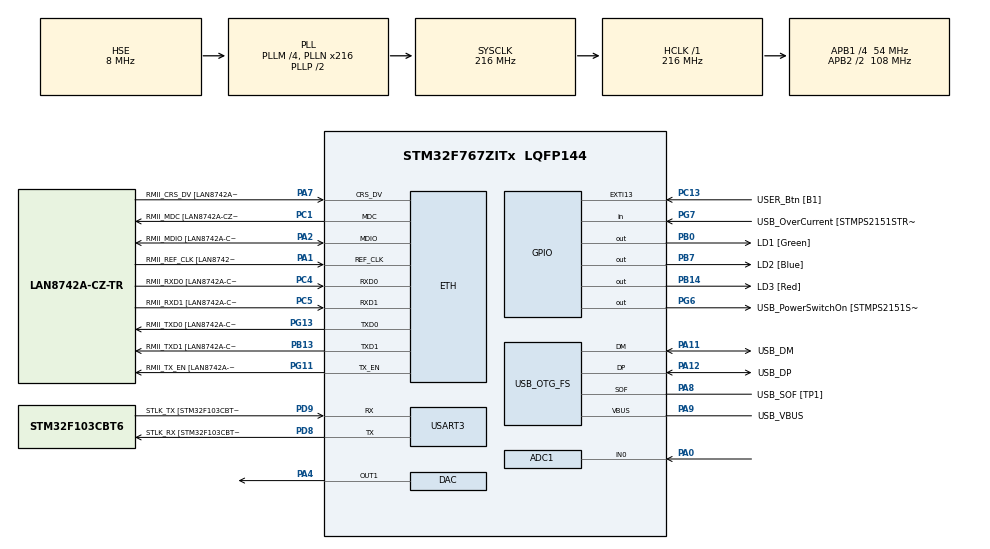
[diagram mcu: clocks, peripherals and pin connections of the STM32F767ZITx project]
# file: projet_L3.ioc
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ADC1.Channel-2\#ChannelRegularConversion=ADC_CHANNEL_0
ADC1.ContinuousConvMode=DISABLE
ADC1.DMAContinuousRequests=ENABLE
ADC1.EOCSelection=ADC_EOC_SEQ_CONV
ADC1.ExternalTrigConv=ADC_EXTERNALTRIGCONV_T2_TRGO
ADC1.NbrOfConversion=1
ADC1.NbrOfConversionFlag=1
ADC1.Rank-2\#ChannelRegularConversion=1
ADC1.SamplingTime-2\#ChannelRegularConversion=ADC_SAMPLETIME_84CYCLES
ADC1.master=1
CORTEX_M7.CPU_ICache=Enabled
DAC.DAC_Trigger=DAC_TRIGGER_T4_TRGO
Dma.ADC1.0.Direction=DMA_PERIPH_TO_MEMORY
Dma.ADC1.0.FIFOMode=DMA_FIFOMODE_DISABLE
Dma.ADC1.0.Instance=DMA2_Stream0
Dma.ADC1.0.MemDataAlignment=DMA_MDATAALIGN_HALFWORD
Dma.ADC1.0.MemInc=DMA_MINC_ENABLE
Dma.ADC1.0.Mode=DMA_CIRCULAR
Dma.ADC1.0.PeriphDataAlignment=DMA_PDATAALIGN_HALFWORD
Dma.ADC1.0.PeriphInc=DMA_PINC_DISABLE
Dma.ADC1.0.Priority=DMA_PRIORITY_VERY_HIGH
Dma.Request0=ADC1
ETH.MediaInterface=HAL_ETH_RMII_MODE
ETH.PHY_Name=LAN8742A_PHY_ADDRESS
ETH.PHY_Value=0
ETH.PhyAddress=0
Mcu.Family=STM32F7
Mcu.Name=STM32F767ZITx
Mcu.Package=LQFP144
NVIC.DMA2_Stream0_IRQn=true\:0\:0\:false\:false\:true\:false\:true\:true
NVIC.PriorityGroup=NVIC_PRIORITYGROUP_4
NVIC.TIM4_IRQn=true\:0\:0\:false\:false\:true\:true\:true\:true
PA0/WKUP.Signal=ADCx_IN0
PA1.GPIO_Label=RMII_REF_CLK [LAN8742A-CZ-TR_REFCLK0]
PA1.Mode=RMII
PA1.Signal=ETH_REF_CLK
PA10.GPIO_Label=USB_ID
PA10.Signal=USB_OTG_FS_ID
PA11.GPIO_Label=USB_DM
PA11.Mode=Device_Only
PA11.Signal=USB_OTG_FS_DM
PA12.GPIO_Label=USB_DP
PA12.Mode=Device_Only
PA12.Signal=USB_OTG_FS_DP
PA13.GPIO_Label=TMS
PA13.Mode=Serial_Wire
PA13.Signal=SYS_JTMS-SWDIO
PA14.GPIO_Label=TCK
PA14.Mode=Serial_Wire
PA14.Signal=SYS_JTCK-SWCLK
PA2.GPIO_Label=RMII_MDIO [LAN8742A-CZ-TR_MDIO]
PA2.Mode=RMII
PA2.Signal=ETH_MDIO
PA4.Signal=COMP_DAC1_group
PA7.GPIO_Label=RMII_CRS_DV [LAN8742A-CZ-TR_CRS_DV]
PA7.Mode=RMII
PA7.Signal=ETH_CRS_DV
PA8.GPIO_Label=USB_SOF [TP1]
PA8.Mode=Activate_SOF_FS
PA8.Signal=USB_OTG_FS_SOF
PA9.GPIO_Label=USB_VBUS
PA9.Mode=Activate_VBUS
PA9.Signal=USB_OTG_FS_VBUS
PB0.GPIO_Label=LD1 [Green]
PB0.Signal=GPIO_Output
PB13.GPIO_Label=RMII_TXD1 [LAN8742A-CZ-TR_TXD1]
PB13.Mode=RMII
PB13.Signal=ETH_TXD1
PB14.GPIO_Label=LD3 [Red]
PB14.Signal=GPIO_Output
PB3.GPIO_Label=SWO
PB3.Signal=SYS_JTDO-SWO
PB7.GPIO_Label=LD2 [Blue]
PB7.Signal=GPIO_Output
PC1.GPIO_Label=RMII_MDC [LAN8742A-CZ-TR_MDC]
PC1.Mode=RMII
PC1.Signal=ETH_MDC
PC13.GPIO_Label=USER_Btn [B1]
PC13.Signal=GPXTI13
PC14/OSC32_IN.Mode=LSE-External-Oscillator
PC14/OSC32_IN.Signal=RCC_OSC32_IN
PC15/OSC32_OUT.Mode=LSE-External-Oscillator
PC15/OSC32_OUT.Signal=RCC_OSC32_OUT
PC4.GPIO_Label=RMII_RXD0 [LAN8742A-CZ-TR_RXD0]
PC4.Mode=RMII
PC4.Signal=ETH_RXD0
PC5.GPIO_Label=RMII_RXD1 [LAN8742A-CZ-TR_RXD1]
PC5.Mode=RMII
PC5.Signal=ETH_RXD1
PD8.GPIO_Label=STLK_RX [STM32F103CBT6_PA3]
PD8.Mode=Asynchronous
PD8.Signal=USART3_TX
PD9.GPIO_Label=STLK_TX [STM32F103CBT6_PA2]
PD9.Mode=Asynchronous
PD9.Signal=USART3_RX
PG11.GPIO_Label=RMII_TX_EN [LAN8742A-CZ-TR_TXEN]
PG11.Mode=RMII
PG11.Signal=ETH_TX_EN
PG13.GPIO_Label=RMII_TXD0 [LAN8742A-CZ-TR_TXD0]
PG13.Mode=RMII
PG13.Signal=ETH_TXD0
PG6.GPIO_Label=USB_PowerSwitchOn [STMPS2151STR_EN]
PG6.Signal=GPIO_Output
PG7.GPIO_Label=USB_OverCurrent [STMPS2151STR_FAULT]
PG7.Signal=GPIO_Input
PH0/OSC_IN.GPIO_Label=MCO [STM32F103CBT6_PA8]
PH0/OSC_IN.Mode=HSE-External-Clock-Source
PH0/OSC_IN.Signal=RCC_OSC_IN
PH1/OSC_OUT.Mode=HSE-External-Clock-Source
PH1/OSC_OUT.Signal=RCC_OSC_OUT
ProjectManager.HeapSize=0x200
ProjectManager.StackSize=0x400
ProjectManager.TargetToolchain=STM32CubeIDE
RCC.48MHZClocksFreq_Value=24000000
RCC.AHBFreq_Value=216000000
RCC.APB1CLKDivider=RCC_HCLK_DIV4
RCC.APB1Freq_Value=54000000
RCC.APB1TimFreq_Value=108000000
RCC.APB2CLKDivider=RCC_HCLK_DIV2
RCC.APB2Freq_Value=108000000
RCC.APB2TimFreq_Value=216000000
RCC.CortexFreq_Value=216000000
RCC.HCLKFreq_Value=216000000
RCC.HSE_VALUE=8000000
RCC.HSI_VALUE=16000000
RCC.PLLM=4
RCC.PLLMUL=RCC_PLL_MUL9
RCC.PLLN=216
RCC.PLLQ=9
RCC.PRESCALERUSB=RCC_USBCLKSOURCE_PLL_DIV1_5
RCC.SYSCLKFreq_VALUE=216000000
RCC.SYSCLKSource=RCC_SYSCLKSOURCE_PLLCLK
RCC.SYSCLKSourceVirtual=RCC_SYSCLKSOURCE_PLLCLK
RCC.USBFreq_Value=48000000
RCC.VCOOutputFreq_Value=432000000
SH.ADCx_IN0.0=ADC1_IN0,IN0
SH.COMP_DAC1_group.0=DAC_OUT1,DAC_OUT1
STMicroelectronics.FP-SNS-STAIOTCFT.1.0.0.MathOoLibCcCMSISJjDSPJjInclude=true
STMicroelectronics.FP-SNS-STAIOTCFT.1.0.0.MathOoLibCcCMSISJjDSPJjLib=true
TIM2.AutoReloadPreload=TIM_AUTORELOAD_PRELOAD_ENABLE
TIM2.Period=2159
TIM2.TIM_MasterOutputTrigger=TIM_TRGO_UPDATE
TIM4.AutoReloadPreload=TIM_AUTORELOAD_PRELOAD_ENABLE
TIM4.TIM_MasterOutputTrigger=TIM_TRGO_UPDATE
USART3.VirtualMode-Asynchronous=VM_ASYNC
USB_OTG_FS.VirtualMode=Device_Only
VP_STMicroelectronics.FP-SNS-STAIOTCFT_VS_CMSISJjMathOoLib_1.0.0_1.0.0.Mode=CMSISJjMathOoLib
VP_TIM2_VS_ClockSourceINT.Mode=Internal
VP_TIM4_VS_ClockSourceINT.Mode=Internal
board=NUCLEO-F767ZI

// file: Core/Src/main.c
/* USER CODE BEGIN Header */
/**
  ******************************************************************************
  * @file           : main.c
  * @brief          : Programme principal - Radar Doppler 24.125 GHz
  *                   Version 2 : FS=100kHz, FFT=4096, UDP streaming Ethernet
  ******************************************************************************
  * @attention
  *
  * Copyright (c) 2026 STMicroelectronics.
  * All rights reserved.
  *
  * This software is licensed under terms that can be found in the LICENSE file
  * in the root directory of this software component.
  * If no LICENSE file comes with this software, it is provided AS-IS.
  *
  ******************************************************************************
  */
/* USER CODE END Header */

#include "main.h"
#include "string.h"
#include <math.h>
#include <stdio.h>

/* CMSIS-DSP : bibliothèque de traitement du signal optimisée pour Cortex-M7.
 * Fournit des fonctions FFT, filtrage, statistiques, etc. qui exploitent
 * les instructions DSP matérielles du Cortex-M7 (FPU, SIMD). */
#include "arm_math.h"

/* Pilote de l'écran OLED SSD1306 128x64 connecté en I2C. */
#include "ssd1306.h"

/* USER CODE BEGIN PD */

/* === Taille du buffer DMA pour l'ADC ===
 * Double-buffer circulaire de 2048 échantillons à 100 kHz.
 * Interruption "half-complete" après 1024, "complete" après 2048.
 * Pendant que le DMA remplit une moitié, le CPU traite l'autre. */
#define ADC_BUF_SIZE      2048

/* === Taille de la FFT embarquée (STM32) ===
 * 4096 points à 100 kHz → résolution fréquentielle :
 *   Δf = FS / FFT_SIZE = 100000 / 4096 ≈ 24.4 Hz par bin
 * Résolution en vitesse : Δv = Δf / 161 ≈ 0.15 m/s ≈ 0.54 km/h
 * Fréquence max observable (Nyquist) = FS/2 = 50 kHz → vmax ≈ 310 m/s
 * Mais le filtre passe-bas AFE coupe à 6 kHz → vmax utile ≈ 37 m/s */
#define FFT_SIZE          4096

/* Fréquence d'échantillonnage ADC en Hz.
 * Timer 2 cadence à 100 kHz :
 *   fAPB1_timer = 108 MHz, prescaler = 0, ARR = 1079
 *   → ftimer = 108 MHz / (1079+1) = 100 000 Hz */
#define FS                100000.0f

/* Facteur de conversion Doppler : fd = 2·v·f0/c
 * f0 = 24.125 GHz → facteur = 2 × 24.125e9 / 3e8 ≈ 161 Hz/(m/s) */
#define DOPPLER_SCALE     161.0f

/* === Plage de recherche du pic FFT ===
 * MIN_BIN = 2 : évite la fuite DC (bins 0-1)
 * MAX_BIN = 250 : bin 250 × 24.4 Hz ≈ 6100 Hz → vitesse max ≈ 38 m/s ≈ 137 km/h
 * Cohérent avec le filtre passe-bas analogique à 6 kHz */
#define MIN_BIN           2
#define MAX_BIN           250

/* === Seuils de détection ===
 * SNR_THRESHOLD : 15 dB minimum (pic ~31× au-dessus du bruit moyen)
 * ADC_PP_THRESHOLD : amplitude crête-à-crête minimum ~80 mV */
#define SNR_THRESHOLD     15.0f
#define ADC_PP_THRESHOLD  100

/* === Configuration UDP pour le streaming Ethernet ===
 * On envoie les échantillons ADC bruts par hop DMA de 1024 points
 * (1024 × uint16 = 2048 octets) via UDP. À ~97.6 hops/s :
 * 100000 / 1024 = 97.656 Hz → ~195 ko/s.
 * Ethernet 100 Mbps = 12.5 Mo/s → charge réseau ≈ 1.6% (trivial).
 *
 * Adresses IP statiques (pas de DHCP pour la simplicité) :
 *   STM32 : 192.168.1.10
 *   PC    : 192.168.1.100
 * Port UDP : 5555 */
#define UDP_DST_PORT      5555
#define UDP_SRC_PORT      5555

/* Adresse IP du STM32 : 192.168.1.10 */
#define IP_SRC_0  192
#define IP_SRC_1  168
#define IP_SRC_2  1
#define IP_SRC_3  10

/* Adresse IP du PC destinataire : 192.168.1.100 */
#define IP_DST_0  192
#define IP_DST_1  168
#define IP_DST_2  1
#define IP_DST_3  100

/* Adresse MAC du STM32 (identique à celle configurée dans MX_ETH_Init) */
#define MAC_SRC_0  0x00
#define MAC_SRC_1  0x80
#define MAC_SRC_2  0xE1
#define MAC_SRC_3  0x00
#define MAC_SRC_4  0x00
#define MAC_SRC_5  0x00

/* Adresse MAC de broadcast (le PC recevra tout paquet sur le port 5555).
 * On utilise broadcast pour éviter d'avoir à connaître la MAC du PC.
 * Le routeur/switch délivrera le paquet à tous les périphériques du LAN. */
#define MAC_DST_0  0xFF
#define MAC_DST_1  0xFF
#define MAC_DST_2  0xFF
#define MAC_DST_3  0xFF
#define MAC_DST_4  0xFF
#define MAC_DST_5  0xFF

/* Taille max d'un paquet UDP (payload) dans un frame Ethernet standard.
 * MTU = 1500 octets - 20 (IP) - 8 (UDP) = 1472 octets de données utiles.
 * En mode hop, on fragmente 2048 octets ADC en 2 paquets max. */
#define UDP_MAX_PAYLOAD   1400

/* Taille d'un hop UDP : 1024 échantillons (demi-buffer DMA ADC) */
#define UDP_HOP_SAMPLES     (ADC_BUF_SIZE / 2)

/* Nombre d'échantillons ADC envoyés par trame UDP */
#define UDP_STREAM_SAMPLES  UDP_HOP_SAMPLES  /* 1024 échantillons = 2048 octets */

/* Nombre de paquets UDP nécessaires pour envoyer une trame UDP (hop).
 * 2048 / 1400 = 1.46 → 2 paquets (le dernier est plus court). */
#define UDP_FRAGMENT_COUNT  ((UDP_STREAM_SAMPLES * 2 + UDP_MAX_PAYLOAD - 1) / UDP_MAX_PAYLOAD)

/* USER CODE END PD */

/* === Descripteurs DMA Ethernet ===
 * Placés à des adresses fixes en SRAM2 (0x2007C000). */
#if defined ( __ICCARM__ ) /*!< IAR Compiler */
#pragma location=0x2007c000
ETH_DMADescTypeDef  DMARxDscrTab[ETH_RX_DESC_CNT]; /* Ethernet Rx DMA Descriptors */
#pragma location=0x2007c0a0
ETH_DMADescTypeDef  DMATxDscrTab[ETH_TX_DESC_CNT]; /* Ethernet Tx DMA Descriptors */

#elif defined ( __CC_ARM )  /* MDK ARM Compiler */

__attribute__((at(0x2007c000))) ETH_DMADescTypeDef  DMARxDscrTab[ETH_RX_DESC_CNT]; /* Ethernet Rx DMA Descriptors */
__attribute__((at(0x2007c0a0))) ETH_DMADescTypeDef  DMATxDscrTab[ETH_TX_DESC_CNT]; /* Ethernet Tx DMA Descriptors */

#elif defined ( __GNUC__ ) /* GNU Compiler */

ETH_DMADescTypeDef DMARxDscrTab[ETH_RX_DESC_CNT] __attribute__((section(".RxDecripSection"))); /* Ethernet Rx DMA Descriptors */
ETH_DMADescTypeDef DMATxDscrTab[ETH_TX_DESC_CNT] __attribute__((section(".TxDecripSection")));   /* Ethernet Tx DMA Descriptors */
#endif

ETH_TxPacketConfig TxConfig;

/* === Handles des périphériques HAL === */
ADC_HandleTypeDef hadc1;
DMA_HandleTypeDef hdma_adc1;

DAC_HandleTypeDef hdac;
DMA_HandleTypeDef hdma_dac1;

ETH_HandleTypeDef heth;

TIM_HandleTypeDef htim2;
TIM_HandleTypeDef htim4;

UART_HandleTypeDef huart3;

PCD_HandleTypeDef hpcd_USB_OTG_FS;

I2C_HandleTypeDef hi2c1;

/* USER CODE BEGIN PV */

/* === Variables OLED === */
uint32_t oled_last_update = 0;
#define OLED_UPDATE_MS  200  /* rafraîchir l'OLED toutes les 200 ms (5 Hz) */

/* Dernières valeurs mesurées pour l'affichage OLED */
float last_speed_kmh = 0;
float last_speed_ms = 0;
float last_freq = 0;
float last_snr = 0;
uint8_t last_detected = 0;

/* === Buffer DMA double pour l'ADC (2048 échantillons à 100 kHz) ===
 * Interruption HT après 1024, TC après 2048. */
volatile uint16_t adc_buf[ADC_BUF_SIZE];

/* Drapeaux d'interruption DMA */
volatile uint8_t  adc_half_ready = 0;
volatile uint8_t  adc_full_ready = 0;

/* === Buffers FFT embarquée (4096 points) ===
 * fft_in  : accumulation de 4096 échantillons float32 (16 ko)
 * fft_out : sortie FFT complexe (16 ko)
 * fft_mag : magnitudes (8 ko)
 * hann_window : coefficients de fenêtrage (16 ko) */
float32_t fft_in[FFT_SIZE];
float32_t fft_out[FFT_SIZE];
float32_t fft_mag[FFT_SIZE / 2];
float32_t hann_window[FFT_SIZE];

/* Instance FFT CMSIS-DSP (twiddle factors pré-calculés) */
arm_rfft_fast_instance_f32 fft_instance;

/* === Buffer UDP hop : copie brute des 1024 échantillons ADC uint16 ===
 * Il est rempli à chaque DMA HT/TC puis envoyé immédiatement via UDP.
 * Le PC reconstruit ensuite sa fenêtre glissante de 4096 échantillons. */
uint16_t udp_hop_buf[UDP_HOP_SAMPLES];

/* Pointeur d'accumulation FFT : incrémenté de 1024 à chaque DMA HT/TC.
 * Quand fft_fill >= FFT_SIZE (4096), le buffer est plein → lancer la FFT. */
uint16_t fft_fill = 0;
uint8_t  fft_ready = 0;

/* === Statistiques ADC === */
volatile uint16_t adc_min = 4095;
volatile uint16_t adc_max = 0;
volatile uint32_t adc_sum = 0;
volatile uint32_t adc_count = 0;

/* === Paramètres du sweep DAC (mode test) === */
#define DAC_BUF_SIZE  1024
#define SWEEP_F_START 30.0f
#define SWEEP_F_END   6000.0f
#define SWEEP_TIME_MS 15000

uint16_t dac_buf[DAC_BUF_SIZE];
float sweep_phase = 0.0f;
uint32_t sweep_start_tick = 0;

/* === Buffer UART pour compatibilité avec l'ancien protocole ===
 * On garde le streaming UART décimé en parallèle du streaming UDP.
 * Le UART envoie 1024 échantillons (décimation 4:1 depuis 4096).
 * Le UDP envoie un hop brut de 1024 échantillons à chaque HT/TC DMA. */
#define ADC_STREAM_SAMPLES  1024
uint16_t stream_buf[ADC_STREAM_SAMPLES];

/* === Buffer Ethernet pour construction de trames UDP brutes ===
 * On construit manuellement les trames Ethernet/IP/UDP sans lwIP.
 * En-tête total : 14 (Ethernet) + 20 (IPv4) + 8 (UDP) = 42 octets.
 *
 * Buffer aligné sur 4 octets pour le DMA Ethernet. */
__ALIGN_BEGIN static uint8_t eth_tx_buf[1514] __ALIGN_END;

/* Compteur de séquence UDP pour que le PC détecte les paquets perdus.
 * Incrémenté à chaque hop envoyé (pas à chaque fragment). */
static uint32_t udp_seq_counter = 0;

/* Flag indiquant que le lien Ethernet est UP (PHY connecté). */
static uint8_t eth_link_up = 0;

/* USER CODE END PV */

void SystemClock_Config(void);
static void MX_GPIO_Init(void);
static void MX_DMA_Init(void);
static void MX_ETH_Init(void);
static void MX_USART3_UART_Init(void);
static void MX_USB_OTG_FS_PCD_Init(void);
static void MX_ADC1_Init(void);
static void MX_DAC_Init(void);
static void MX_TIM2_Init(void);
static void MX_TIM4_Init(void);

/* USER CODE BEGIN 0 */

/* ═══════════════════════════════════════════════════════════════════════════
 * Construction manuelle de trames UDP brutes (sans lwIP)
 * ═══════════════════════════════════════════════════════════════════════════
 *
 * On fabrique les trames Ethernet/IP/UDP manuellement car ajouter lwIP
 * nécessiterait de regénérer le projet CubeMX. La pile "bare-metal"
 * est suffisante pour du streaming unidirectionnel en broadcast.
 *
 * Structure d'une trame :
 *   [14 octets Ethernet] [20 octets IPv4] [8 octets UDP] [données]
 *
 * Checksum IP : obligatoire (calculé par logiciel).
 * Checksum UDP : optionnel en IPv4, on met 0x0000 pour simplifier.
 */

/**
 * @brief  Calcul du checksum IPv4 (RFC 791).
 *
 * Le checksum IP est le complément à 1 de la somme des mots de 16 bits
 * de l'en-tête. On additionne tous les mots de 16 bits avec carry,
 * puis on inverse le résultat.
 *
 * @param  data  Pointeur vers l'en-tête IPv4 (20 octets)
 * @param  len   Longueur de l'en-tête en octets (toujours 20 ici)
 * @return       Checksum sur 16 bits en ordre réseau (big-endian)
 */
static uint16_t ip_checksum(const uint8_t *data, int len)
{
  uint32_t sum = 0;
  /* Additionner les mots de 16 bits (big-endian) */
  for (int i = 0; i < len; i += 2)
    sum += ((uint32_t)data[i] << 8) | data[i + 1];
  /* Replier les retenues de 32 bits dans les 16 bits bas */
  while (sum >> 16)
    sum = (sum & 0xFFFF) + (sum >> 16);
  /* Complément à 1 */
  return (uint16_t)(~sum);
}

/**
 * @brief  Envoie un paquet UDP brut via HAL Ethernet.
 *
 * Construit l'en-tête Ethernet (14 oct) + IPv4 (20 oct) + UDP (8 oct)
 * puis copie les données payload et transmet via HAL_ETH_Transmit().
 *
 * @param  payload      Données à envoyer
 * @param  payload_len  Taille des données en octets (max ~1472)
 */
static HAL_StatusTypeDef udp_send_raw(const uint8_t *payload, uint16_t payload_len)
{
  /* Taille totale des données IP (en-tête IP + en-tête UDP + payload) */
  uint16_t ip_total_len = 20 + 8 + payload_len;
  /* Taille totale de la trame Ethernet (sans CRC, ajouté par le matériel) */
  uint16_t eth_frame_len = 14 + ip_total_len;

  /* Limiter à la taille du buffer */
  if (eth_frame_len > sizeof(eth_tx_buf)) return HAL_ERROR;

  uint8_t *p = eth_tx_buf;

  /* ── En-tête Ethernet (14 octets) ──
   * [6 oct MAC destination] [6 oct MAC source] [2 oct EtherType] */
  *p++ = MAC_DST_0; *p++ = MAC_DST_1; *p++ = MAC_DST_2;
  *p++ = MAC_DST_3; *p++ = MAC_DST_4; *p++ = MAC_DST_5;
  *p++ = MAC_SRC_0; *p++ = MAC_SRC_1; *p++ = MAC_SRC_2;
  *p++ = MAC_SRC_3; *p++ = MAC_SRC_4; *p++ = MAC_SRC_5;
  *p++ = 0x08; *p++ = 0x00;  /* EtherType = 0x0800 = IPv4 */

  /* ── En-tête IPv4 (20 octets, pas d'options) ── */
  uint8_t *ip_hdr = p;
  *p++ = 0x45;         /* Version 4, IHL = 5 (20 octets, pas d'options) */
  *p++ = 0x00;         /* DSCP = 0, ECN = 0 */
  *p++ = (uint8_t)(ip_total_len >> 8);   /* Longueur totale (MSB) */
  *p++ = (uint8_t)(ip_total_len & 0xFF); /* Longueur totale (LSB) */
  *p++ = 0x00; *p++ = 0x00;  /* Identification = 0 */
  *p++ = 0x40; *p++ = 0x00;  /* Flags: Don't Fragment, Fragment Offset = 0 */
  *p++ = 64;                  /* TTL = 64 (standard) */
  *p++ = 17;                  /* Protocole = 17 = UDP */
  *p++ = 0x00; *p++ = 0x00;  /* Checksum (rempli après calcul) */
  *p++ = IP_SRC_0; *p++ = IP_SRC_1; *p++ = IP_SRC_2; *p++ = IP_SRC_3;
  *p++ = IP_DST_0; *p++ = IP_DST_1; *p++ = IP_DST_2; *p++ = IP_DST_3;

  /* Calcul du checksum IPv4 et insertion dans l'en-tête */
  uint16_t cksum = ip_checksum(ip_hdr, 20);
  ip_hdr[10] = (uint8_t)(cksum >> 8);
  ip_hdr[11] = (uint8_t)(cksum & 0xFF);

  /* ── En-tête UDP (8 octets) ── */
  uint16_t udp_len = 8 + payload_len;
  *p++ = (uint8_t)(UDP_SRC_PORT >> 8); *p++ = (uint8_t)(UDP_SRC_PORT & 0xFF);
  *p++ = (uint8_t)(UDP_DST_PORT >> 8); *p++ = (uint8_t)(UDP_DST_PORT & 0xFF);
  *p++ = (uint8_t)(udp_len >> 8);      *p++ = (uint8_t)(udp_len & 0xFF);
  *p++ = 0x00; *p++ = 0x00;  /* Checksum UDP = 0 (optionnel en IPv4) */

  /* ── Payload ── */
  memcpy(p, payload, payload_len);

  /* ── Transmission via HAL Ethernet ──
   * On utilise HAL_ETH_Transmit() qui configure le descripteur DMA TX
   * et lance l'envoi matériel. Le CRC Ethernet est ajouté automatiquement
   * par le MAC (configuré dans TxConfig.CRCPadCtrl). */
  ETH_BufferTypeDef tx_buffer;
  tx_buffer.buffer = eth_tx_buf;
  tx_buffer.len = eth_frame_len;
  tx_buffer.next = NULL;

  TxConfig.Length = eth_frame_len;
  TxConfig.TxBuffer = &tx_buffer;

  return HAL_ETH_Transmit(&heth, &TxConfig, 10);  /* timeout 10 ms */
}

/**
 * @brief  Envoie une trame d'échantillons ADC via UDP fragmenté.
 *
 * Les échantillons (n_samples × 2 octets) peuvent être trop gros
 * (MTU = 1500 → payload max ≈ 1472 octets). On les envoie en fragments
 * avec un en-tête de 12 octets par fragment :
 *
 *   [4 oct : séquence]  [2 oct : fragment_id]  [2 oct : fragment_count]
 *   [2 oct : offset]    [2 oct : payload_len]
 *   [N oct : données ADC uint16 little-endian]
 *
 * Le PC réassemble les fragments grâce au numéro de séquence et à l'offset.
 *
 * @param  samples      Tableau d'échantillons uint16 (hop ADC brut)
 * @param  n_samples    Nombre d'échantillons (1024 en mode hop)
 * @param  seq          Numéro de séquence de la trame
 */
static void udp_send_adc_frame(const uint16_t *raw_samples, uint16_t n_samples, uint32_t seq)
{
  /* Buffer temporaire pour un fragment : en-tête (12 oct) + données */
  static uint8_t frag_buf[12 + UDP_MAX_PAYLOAD];

  uint16_t total_bytes = n_samples * 2;
  uint16_t frag_count = (total_bytes + UDP_MAX_PAYLOAD - 1) / UDP_MAX_PAYLOAD;
  uint16_t offset = 0;

  for (uint16_t frag_id = 0; frag_id < frag_count; frag_id++)
  {
    uint16_t chunk = total_bytes - offset;
    if (chunk > UDP_MAX_PAYLOAD) chunk = UDP_MAX_PAYLOAD;

    /* En-tête de fragment (12 octets, little-endian) */
    uint8_t *h = frag_buf;
    h[0] = (uint8_t)(seq);       h[1] = (uint8_t)(seq >> 8);
    h[2] = (uint8_t)(seq >> 16); h[3] = (uint8_t)(seq >> 24);
    h[4] = (uint8_t)(frag_id);   h[5] = (uint8_t)(frag_id >> 8);
    h[6] = (uint8_t)(frag_count); h[7] = (uint8_t)(frag_count >> 8);
    h[8] = (uint8_t)(offset);    h[9] = (uint8_t)(offset >> 8);
    h[10] = (uint8_t)(chunk);    h[11] = (uint8_t)(chunk >> 8);

    /* Copie directe des uint16 bruts (pas de conversion float→uint16) */
    memcpy(frag_buf + 12, ((const uint8_t *)raw_samples) + offset, chunk);

    /* Attendre AVANT l'envoi que le DMA TX ait fini de lire eth_tx_buf
     * du fragment précédent. HAL_ETH_Transmit sur STM32F7 peut rendre
     * la main avant que le DMA ait fini physiquement.
     *
     * Calcul : 1412 octets * 8 / 100 Mbps = 113 µs + IFG ≈ 130 µs
     * On attend 200 µs pour avoir de la marge (4300 boucles à 216 MHz). */
    if (frag_id > 0)
    {
      for (volatile int d = 0; d < 4300; d++) {}
    }

    /* Envoi du fragment. On ne break PAS sur erreur : on tente
     * d'envoyer TOUS les fragments quoi qu'il arrive. Le PC ignore
     * les trames incomplètes grâce au bitmap de fragments. */
    udp_send_raw(frag_buf, 12 + chunk);

    offset += chunk;
  }
}

/**
 * @brief  Vérifie l'état du lien Ethernet (PHY LAN8742A).
 *
 * Lit le registre BSR (Basic Status Register) du PHY via MDIO
 * pour vérifier si le lien physique est établi (câble branché,
 * auto-négociation terminée).
 *
 * @return  1 si le lien est UP, 0 sinon
 */
static uint8_t eth_check_link(void)
{
  uint32_t reg_val = 0;
  /* Adresse du PHY LAN8742A sur le bus MDIO : typiquement 0 */
  /* Registre BSR (Basic Status Register) = registre 1 */
  if (HAL_ETH_ReadPHYRegister(&heth, 0, 1, &reg_val) == HAL_OK)
  {
    /* Bit 2 du BSR = "Link Status" : 1 = lien UP */
    return (reg_val & (1 << 2)) ? 1 : 0;
  }
  return 0;
}

/**
 * @brief  Initialise le lien Ethernet (démarrage du MAC + PHY).
 *
 * Appelé après MX_ETH_Init() pour activer le transceiver.
 * Configure le PHY en auto-négociation et démarre le MAC.
 */
static void eth_start_link(void)
{
  /* Démarrer le MAC Ethernet avec diagnostic UART */
  char dbg[128];

  HAL_StatusTypeDef status = HAL_ETH_Start(&heth);
  snprintf(dbg, sizeof(dbg), "[ETH] HAL_ETH_Start = %d (0=OK)\r\n", (int)status);
  HAL_UART_Transmit(&huart3, (uint8_t *)dbg, strlen(dbg), 50);

  eth_link_up = eth_check_link();
  snprintf(dbg, sizeof(dbg), "[ETH] Link = %s\r\n", eth_link_up ? "UP" : "DOWN");
  HAL_UART_Transmit(&huart3, (uint8_t *)dbg, strlen(dbg), 50);
}

/**
 * @brief  Pré-calcul de la fenêtre de Hann pour le fenêtrage FFT.
 *
 * w[n] = 0.5 × (1 - cos(2π·n / (N-1)))
 *
 * La fenêtre atténue le signal à zéro aux bords pour éliminer les
 * discontinuités qui causent des fuites spectrales. Compromis :
 * le lobe principal est 2× plus large mais les lobes secondaires
 * sont atténués de ~31 dB.
 */
void init_hann_window(void)
{
  for (int i = 0; i < FFT_SIZE; i++)
    hann_window[i] = 0.5f * (1.0f - arm_cos_f32(2.0f * PI * i / (FFT_SIZE - 1)));
}

/**
 * @brief  Calcule la fréquence instantanée du sweep logarithmique.
 *
 * f(t) = f_start × (f_end / f_start)^(t / T)
 *
 * @return  Fréquence actuelle du sweep en Hz
 */
float get_sweep_freq(void)
{
  uint32_t elapsed = HAL_GetTick() - sweep_start_tick;
  if (elapsed >= SWEEP_TIME_MS)
  {
    sweep_start_tick = HAL_GetTick();
    sweep_phase = 0.0f;
    elapsed = 0;
  }
  float t_ratio = (float)elapsed / (float)SWEEP_TIME_MS;
  return SWEEP_F_START * powf(SWEEP_F_END / SWEEP_F_START, t_ratio);
}

/**
 * @brief  Remplit le buffer DAC avec la fréquence actuelle du sweep.
 *
 * Sinusoïde centrée sur 2048 (mi-course 12 bits), amplitude ±800 LSB.
 * La phase est continue entre les appels pour éviter les discontinuités.
 * Note : le DAC tourne à FS=100 kHz maintenant (Timer 4 reconfiguré).
 */
void update_dac_sweep(void)
{
  float freq = get_sweep_freq();
  float phase_inc = 2.0f * PI * freq / FS;

  for (int i = 0; i < DAC_BUF_SIZE; i++)
  {
    dac_buf[i] = (uint16_t)(2048.0f + 800.0f * sinf(sweep_phase));
    sweep_phase += phase_inc;
  }

  if (sweep_phase > 2.0f * PI * 1000.0f)
    sweep_phase = fmodf(sweep_phase, 2.0f * PI);
}

/**
 * @brief  Traitement FFT complet et envoi des résultats.
 *
 * Pipeline :
 * 1. DC removal (arm_mean_f32)
 * 2. Fenêtrage de Hann (arm_mult_f32)
 * 3. FFT réelle 4096 points (arm_rfft_fast_f32)
 * 4. Magnitudes (arm_cmplx_mag_f32)
 * 5. Recherche du pic spectral [MIN_BIN..MAX_BIN]
 * 6. Estimation du plancher de bruit
 * 7. Calcul SNR + vitesses Doppler
 * 8. Streaming UART (protocole binaire, compatibilité ancien PC scope)
 * 9. Mise à jour des données pour l'affichage OLED
 *
 * Temps d'exécution estimé : ~4 ms sur Cortex-M7 @ 216 MHz
 * (FFT 4096 points flottante + overhead)
 */
void process_fft(void)
{
  /* === Étape 1 : DC removal === */
  float32_t mean;
  arm_mean_f32(fft_in, FFT_SIZE, &mean);
  for (int i = 0; i < FFT_SIZE; i++)
    fft_in[i] -= mean;

  /* === Étape 2 : Fenêtrage de Hann === */
  arm_mult_f32(fft_in, hann_window, fft_in, FFT_SIZE);

  /* === Étape 3 : FFT réelle 4096 points === */
  arm_rfft_fast_f32(&fft_instance, fft_in, fft_out, 0);

  /* === Étape 4 : Magnitudes === */
  arm_cmplx_mag_f32(fft_out, fft_mag, FFT_SIZE / 2);

  /* === Étape 5 : Recherche du pic spectral === */
  float32_t peak_val;
  uint32_t peak_idx;
  arm_max_f32(&fft_mag[MIN_BIN], MAX_BIN - MIN_BIN, &peak_val, &peak_idx);
  peak_idx += MIN_BIN;

  /* === Étape 6 : Estimation du plancher de bruit === */
  float32_t noise_sum = 0;
  int noise_count = 0;
  for (int i = MIN_BIN; i < MAX_BIN; i++)
  {
    if (i < (int)peak_idx - 5 || i > (int)peak_idx + 5)
    {
      noise_sum += fft_mag[i];
      noise_count++;
    }
  }
  float32_t noise_avg = (noise_count > 0) ? noise_sum / noise_count : 1e-12f;

  /* === Étape 7 : Calcul du SNR et des vitesses === */
  float32_t peak_db = 20.0f * log10f(peak_val + 1e-12f);
  float32_t noise_db = 20.0f * log10f(noise_avg + 1e-12f);
  float32_t snr = peak_db - noise_db;
  float32_t freq = (float32_t)peak_idx * FS / FFT_SIZE;
  float32_t speed_ms = freq / DOPPLER_SCALE;
  float32_t speed_kmh = speed_ms * 3.6f;

  uint16_t adc_pp = adc_max - adc_min;
  adc_min = 4095; adc_max = 0; adc_sum = 0; adc_count = 0;

  /* === Étape 8 : Décision de détection + LEDs === */
  if (snr > SNR_THRESHOLD && adc_pp > ADC_PP_THRESHOLD)
  {
    HAL_GPIO_WritePin(GPIOB, LD1_Pin, GPIO_PIN_SET);
    HAL_GPIO_WritePin(GPIOB, LD3_Pin, GPIO_PIN_RESET);
    last_speed_kmh = speed_kmh;
    last_speed_ms  = speed_ms;
    last_freq      = freq;
    last_snr       = snr;
    last_detected  = 1;
  }
  else
  {
    HAL_GPIO_WritePin(GPIOB, LD1_Pin, GPIO_PIN_RESET);
    HAL_GPIO_WritePin(GPIOB, LD3_Pin, GPIO_PIN_SET);
    last_snr      = snr;
    last_detected = 0;
  }

  /* === Étape 9 : Streaming UART (compatibilité ancien scope) ===
   * Protocole identique à la v1 : sync 0xAA55 + 1024 samples décimés
   * + sync 0xBB66 + freq/speed/snr/det. */
  uint8_t sync[2] = {0xAA, 0x55};
  HAL_UART_Transmit(&huart3, sync, 2, 5);

  uint16_t n_samples = ADC_STREAM_SAMPLES;
  HAL_UART_Transmit(&huart3, (uint8_t *)&n_samples, 2, 5);
  HAL_UART_Transmit(&huart3, (uint8_t *)stream_buf, n_samples * 2, 200);

  uint8_t fft_hdr[2] = {0xBB, 0x66};
  HAL_UART_Transmit(&huart3, fft_hdr, 2, 5);
  HAL_UART_Transmit(&huart3, (uint8_t *)&freq, 4, 5);
  HAL_UART_Transmit(&huart3, (uint8_t *)&speed_kmh, 4, 5);
  HAL_UART_Transmit(&huart3, (uint8_t *)&speed_ms, 4, 5);
  HAL_UART_Transmit(&huart3, (uint8_t *)&snr, 4, 5);

  uint8_t det = (snr > SNR_THRESHOLD && adc_pp > ADC_PP_THRESHOLD) ? 1 : 0;
  HAL_UART_Transmit(&huart3, &det, 1, 5);
}

/* USER CODE END 0 */

/**
  * @brief  Point d'entrée de l'application.
  * @retval int (ne retourne jamais car boucle infinie)
  */
int main(void)
{

  /* Activation du cache d'instructions Cortex-M7 (~2× plus rapide) */
  SCB_EnableICache();

  HAL_Init();

  /* Configuration horloge : HSE 8 MHz → PLL → SYSCLK = 216 MHz */
  SystemClock_Config();

  /* Initialisation de tous les périphériques CubeMX */
  MX_GPIO_Init();
  MX_DMA_Init();
  MX_ETH_Init();
  MX_USART3_UART_Init();
  MX_USB_OTG_FS_PCD_Init();
  MX_ADC1_Init();
  MX_DAC_Init();
  MX_TIM2_Init();
  MX_TIM4_Init();

  /* USER CODE BEGIN 2 */

  /* === Reconfiguration UART à 921600 bauds === */
  huart3.Init.BaudRate = 921600;
  if (HAL_UART_Init(&huart3) != HAL_OK) Error_Handler();

  /* === Reconfiguration Timer 2 pour 100 kHz ===
   * fAPB1_timer = 108 MHz, prescaler = 0
   * ARR = 1079 → 108 MHz / 1080 = 100 000 Hz */
  __HAL_TIM_SET_PRESCALER(&htim2, 0);
  __HAL_TIM_SET_AUTORELOAD(&htim2, 1079);

  /* === Initialisation I2C1 + OLED SSD1306 === */
  {
    GPIO_InitTypeDef gpio = {0};
    __HAL_RCC_GPIOB_CLK_ENABLE();
    __HAL_RCC_I2C1_CLK_ENABLE();

    gpio.Pin       = GPIO_PIN_8 | GPIO_PIN_9;
    gpio.Mode      = GPIO_MODE_AF_OD;
    gpio.Pull      = GPIO_PULLUP;
    gpio.Speed     = GPIO_SPEED_FREQ_VERY_HIGH;
    gpio.Alternate = GPIO_AF4_I2C1;
    HAL_GPIO_Init(GPIOB, &gpio);

    hi2c1.Instance              = I2C1;
    hi2c1.Init.Timing           = 0x00702681;  /* 400 kHz @ APB1=54 MHz */
    hi2c1.Init.OwnAddress1      = 0;
    hi2c1.Init.AddressingMode   = I2C_ADDRESSINGMODE_7BIT;
    hi2c1.Init.DualAddressMode  = I2C_DUALADDRESS_DISABLE;
    hi2c1.Init.GeneralCallMode  = I2C_GENERALCALL_DISABLE;
    hi2c1.Init.NoStretchMode    = I2C_NOSTRETCH_DISABLE;
    if (HAL_I2C_Init(&hi2c1) != HAL_OK) Error_Handler();

    SSD1306_Init(&hi2c1);
    SSD1306_Clear();
    SSD1306_DrawString(16, 8,  "RADAR DOPPLER", 1);
    SSD1306_DrawString(34, 20, "24.125 GHz", 1);
    SSD1306_DrawString(10, 36, "FS=100k FFT=4096", 1);
    SSD1306_DrawString(20, 52, "ETH + UART", 1);
    SSD1306_Update();
    HAL_Delay(1000);
  }

  /* === Initialisation FFT CMSIS-DSP (4096 points) === */
  arm_rfft_fast_init_f32(&fft_instance, FFT_SIZE);
  init_hann_window();

  /* === Démarrage de l'acquisition ADC via DMA + Timer === */
  HAL_ADC_Start_DMA(&hadc1, (uint32_t *)adc_buf, ADC_BUF_SIZE);
  HAL_TIM_Base_Start(&htim2);

  HAL_GPIO_WritePin(GPIOB, LD1_Pin, GPIO_PIN_SET);

  /* === Démarrage du lien Ethernet ===
   * Le MAC est initialisé par MX_ETH_Init(), on démarre le transceiver. */
  eth_start_link();

  /* === Configuration du DAC + DMA === */
  HAL_NVIC_DisableIRQ(TIM4_IRQn);
  sweep_start_tick = HAL_GetTick();
  update_dac_sweep();

  __HAL_RCC_DMA1_CLK_ENABLE();
  hdma_dac1.Instance = DMA1_Stream5;
  hdma_dac1.Init.Channel = DMA_CHANNEL_7;
  hdma_dac1.Init.Direction = DMA_MEMORY_TO_PERIPH;
  hdma_dac1.Init.PeriphInc = DMA_PINC_DISABLE;
  hdma_dac1.Init.MemInc = DMA_MINC_ENABLE;
  hdma_dac1.Init.PeriphDataAlignment = DMA_PDATAALIGN_HALFWORD;
  hdma_dac1.Init.MemDataAlignment = DMA_MDATAALIGN_HALFWORD;
  hdma_dac1.Init.Mode = DMA_CIRCULAR;
  hdma_dac1.Init.Priority = DMA_PRIORITY_LOW;
  hdma_dac1.Init.FIFOMode = DMA_FIFOMODE_DISABLE;
  HAL_DMA_Init(&hdma_dac1);
  __HAL_LINKDMA(&hdac, DMA_Handle1, hdma_dac1);

  /* Timer 4 pour le DAC : aussi à 100 kHz maintenant
   * ARR = 1079 → 108 MHz / 1080 = 100 kHz */
  __HAL_TIM_SET_PRESCALER(&htim4, 0);
  __HAL_TIM_SET_AUTORELOAD(&htim4, 1079);
  HAL_TIM_Base_Start(&htim4);

  HAL_DAC_Start_DMA(&hdac, DAC_CHANNEL_1, (uint32_t *)dac_buf, DAC_BUF_SIZE, DAC_ALIGN_12B_R);

  /* USER CODE END 2 */

  /* Infinite loop */
  /* USER CODE BEGIN WHILE */

  /* === Boucle principale ===
   * Timing à FS = 100 kHz :
   * - Toutes les 10.24 ms : 1024 échantillons ADC prêts (DMA HT ou TC)
   *   et envoyés en hop UDP (~97.6 Hz)
   * - Toutes les 40.96 ms : 4096 échantillons accumulés → process_fft()
   *   (période FFT = FFT_SIZE / FS = 4096 / 100000 = 40.96 ms ≈ 24.4 Hz)
   * - Toutes les 200 ms : rafraîchissement OLED
   * - Vérification périodique du lien Ethernet (toutes les secondes) */
  uint32_t eth_check_tick = 0;

  while (1)
  {
    /* USER CODE END WHILE */

    /* USER CODE BEGIN 3 */

    /* === Traitement de la première moitié du buffer DMA (indices 0..1023) === */
    if (adc_half_ready)
    {
      adc_half_ready = 0;

      for (int i = 0; i < ADC_BUF_SIZE / 2; i++)
      {
        uint16_t val = adc_buf[i];
        fft_in[fft_fill + i] = (float32_t)val;
        udp_hop_buf[i] = val;  /* hop brut UDP (1024 échantillons) */

        if ((fft_fill + i) % 4 == 0)
          stream_buf[(fft_fill + i) / 4] = val;

        if (val < adc_min) adc_min = val;
        if (val > adc_max) adc_max = val;
        adc_sum += val;
        adc_count++;
      }

      fft_fill += ADC_BUF_SIZE / 2;

      if (eth_link_up)
      {
        udp_send_adc_frame(udp_hop_buf, UDP_HOP_SAMPLES, udp_seq_counter++);
      }

      if (fft_fill >= FFT_SIZE)
      {
        fft_fill = 0;
        process_fft();
        update_dac_sweep();
        HAL_GPIO_TogglePin(GPIOB, LD2_Pin);
      }
    }

    /* === Traitement de la seconde moitié (indices 1024..2047) === */
    if (adc_full_ready)
    {
      adc_full_ready = 0;

      for (int i = 0; i < ADC_BUF_SIZE / 2; i++)
      {
        uint16_t val = adc_buf[ADC_BUF_SIZE / 2 + i];
        fft_in[fft_fill + i] = (float32_t)val;
        udp_hop_buf[i] = val;  /* hop brut UDP (1024 échantillons) */

        if ((fft_fill + i) % 4 == 0)
          stream_buf[(fft_fill + i) / 4] = val;

        if (val < adc_min) adc_min = val;
        if (val > adc_max) adc_max = val;
        adc_sum += val;
        adc_count++;
      }

      fft_fill += ADC_BUF_SIZE / 2;

      if (eth_link_up)
      {
        udp_send_adc_frame(udp_hop_buf, UDP_HOP_SAMPLES, udp_seq_counter++);
      }

      if (fft_fill >= FFT_SIZE)
      {
        fft_fill = 0;
        process_fft();
        update_dac_sweep();
        HAL_GPIO_TogglePin(GPIOB, LD2_Pin);
      }
    }

    /* === Rafraîchissement OLED (5 Hz) === */
    if (HAL_GetTick() - oled_last_update >= OLED_UPDATE_MS)
    {
      oled_last_update = HAL_GetTick();
      SSD1306_ShowRadar(last_speed_kmh, last_speed_ms,
                        last_freq, last_snr, last_detected);
    }

    /* === Vérification périodique du lien Ethernet (1 Hz) ===
     * On re-teste le PHY toutes les secondes pour détecter
     * le branchement/débranchement du câble RJ45. */
    if (HAL_GetTick() - eth_check_tick >= 1000)
    {
      eth_check_tick = HAL_GetTick();
      uint8_t new_link = eth_check_link();
      if (new_link && !eth_link_up)
      {
        /* Le câble vient d'être branché → redémarrer le MAC */
        HAL_ETH_Start(&heth);
      }
      eth_link_up = new_link;
    }

    }
  /* USER CODE END 3 */
}

/**
  * @brief  Configuration de l'horloge système.
  *
  * HSE (8 MHz) → PLL → SYSCLK = 216 MHz
  * APB1 = 54 MHz (timers = 108 MHz)
  * APB2 = 108 MHz (timers = 216 MHz)
  *
  * @retval None
  */
void SystemClock_Config(void)
{
  RCC_OscInitTypeDef RCC_OscInitStruct = {0};
  RCC_ClkInitTypeDef RCC_ClkInitStruct = {0};

  /** Configure LSE Drive Capability
  */
  HAL_PWR_EnableBkUpAccess();

  /** Configure the main internal regulator output voltage
  */
  __HAL_RCC_PWR_CLK_ENABLE();
  __HAL_PWR_VOLTAGESCALING_CONFIG(PWR_REGULATOR_VOLTAGE_SCALE1);

  /** Initializes the RCC Oscillators according to the specified parameters
  * in the RCC_OscInitTypeDef structure.
  */
  RCC_OscInitStruct.OscillatorType = RCC_OSCILLATORTYPE_HSE;
  RCC_OscInitStruct.HSEState = RCC_HSE_BYPASS;
  RCC_OscInitStruct.PLL.PLLState = RCC_PLL_ON;
  RCC_OscInitStruct.PLL.PLLSource = RCC_PLLSOURCE_HSE;
  RCC_OscInitStruct.PLL.PLLM = 4;
  RCC_OscInitStruct.PLL.PLLN = 216;
  RCC_OscInitStruct.PLL.PLLP = RCC_PLLP_DIV2;
  RCC_OscInitStruct.PLL.PLLQ = 9;
  RCC_OscInitStruct.PLL.PLLR = 2;
  if (HAL_RCC_OscConfig(&RCC_OscInitStruct) != HAL_OK)
  {
    Error_Handler();
  }

  /** Activate the Over-Drive mode
  */
  if (HAL_PWREx_EnableOverDrive() != HAL_OK)
  {
    Error_Handler();
  }

  /** Initializes the CPU, AHB and APB buses clocks
  */
  RCC_ClkInitStruct.ClockType = RCC_CLOCKTYPE_HCLK|RCC_CLOCKTYPE_SYSCLK
                              |RCC_CLOCKTYPE_PCLK1|RCC_CLOCKTYPE_PCLK2;
  RCC_ClkInitStruct.SYSCLKSource = RCC_SYSCLKSOURCE_PLLCLK;
  RCC_ClkInitStruct.AHBCLKDivider = RCC_SYSCLK_DIV1;
  RCC_ClkInitStruct.APB1CLKDivider = RCC_HCLK_DIV4;
  RCC_ClkInitStruct.APB2CLKDivider = RCC_HCLK_DIV2;

  if (HAL_RCC_ClockConfig(&RCC_ClkInitStruct, FLASH_LATENCY_7) != HAL_OK)
  {
    Error_Handler();
  }
}

/**
  * @brief  Initialisation de l'ADC1.
  *
  * ADC1 canal 0 (PA0), 12 bits, trigger Timer 2 TRGO.
  * Temps d'échantillonnage : 3 cycles (le plus rapide possible).
  *   Horloge ADC = APB2/4 = 27 MHz
  *   Temps de conversion = (3 + 12) / 27 MHz = 555 ns
  *   Bien inférieur à la période de 10 µs (100 kHz).
  *
  * @retval None
  */
static void MX_ADC1_Init(void)
{

  ADC_ChannelConfTypeDef sConfig = {0};

  /** Configure the global features of the ADC (Clock, Resolution, Data Alignment and number of conversion)
  */
  hadc1.Instance = ADC1;
  hadc1.Init.ClockPrescaler = ADC_CLOCK_SYNC_PCLK_DIV4;
  hadc1.Init.Resolution = ADC_RESOLUTION_12B;
  hadc1.Init.ScanConvMode = ADC_SCAN_DISABLE;
  hadc1.Init.ContinuousConvMode = DISABLE;
  hadc1.Init.DiscontinuousConvMode = DISABLE;
  hadc1.Init.ExternalTrigConvEdge = ADC_EXTERNALTRIGCONVEDGE_RISING;
  hadc1.Init.ExternalTrigConv = ADC_EXTERNALTRIGCONV_T2_TRGO;
  hadc1.Init.DataAlign = ADC_DATAALIGN_RIGHT;
  hadc1.Init.NbrOfConversion = 1;
  hadc1.Init.DMAContinuousRequests = ENABLE;
  hadc1.Init.EOCSelection = ADC_EOC_SEQ_CONV;
  if (HAL_ADC_Init(&hadc1) != HAL_OK)
  {
    Error_Handler();
  }

  /** Configure for the selected ADC regular channel its corresponding rank in the sequencer and its sample time.
  */
  sConfig.Channel = ADC_CHANNEL_0;
  sConfig.Rank = ADC_REGULAR_RANK_1;
  /* 3 cycles : le temps d'échantillonnage le plus court.
   * À 100 kHz, chaque conversion dure (3+12)/27MHz = 555 ns << 10 µs.
   * Suffisant car le filtre passe-bas AFE à 6 kHz limite le slew rate. */
  sConfig.SamplingTime = ADC_SAMPLETIME_15CYCLES;  /* 15 cycles (556 ns @ 27 MHz)
    * suffisant pour 100 kHz (10 µs/ech). 3 cycles était trop court pour
    * charger le condensateur S&H avec l'impédance de sortie du radar IF */
  if (HAL_ADC_ConfigChannel(&hadc1, &sConfig) != HAL_OK)
  {
    Error_Handler();
  }

}

/**
  * @brief  Initialisation du DAC.
  * @retval None
  */
static void MX_DAC_Init(void)
{

  DAC_ChannelConfTypeDef sConfig = {0};

  /** DAC Initialization
  */
  hdac.Instance = DAC;
  if (HAL_DAC_Init(&hdac) != HAL_OK)
  {
    Error_Handler();
  }

  /** DAC channel OUT1 config
  */
  sConfig.DAC_Trigger = DAC_TRIGGER_T4_TRGO;
  sConfig.DAC_OutputBuffer = DAC_OUTPUTBUFFER_ENABLE;
  if (HAL_DAC_ConfigChannel(&hdac, &sConfig, DAC_CHANNEL_1) != HAL_OK)
  {
    Error_Handler();
  }

}

/**
  * @brief  Initialisation de l'Ethernet.
  *
  * PHY LAN8742A présent sur la Nucleo-144.
  * Maintenant UTILISÉ pour le streaming UDP des données ADC brutes.
  *
  * @retval None
  */
static void MX_ETH_Init(void)
{

   static uint8_t MACAddr[6];

  heth.Instance = ETH;
  MACAddr[0] = 0x00;
  MACAddr[1] = 0x80;
  MACAddr[2] = 0xE1;
  MACAddr[3] = 0x00;
  MACAddr[4] = 0x00;
  MACAddr[5] = 0x00;
  heth.Init.MACAddr = &MACAddr[0];
  heth.Init.MediaInterface = HAL_ETH_RMII_MODE;
  heth.Init.TxDesc = DMATxDscrTab;
  heth.Init.RxDesc = DMARxDscrTab;
  heth.Init.RxBuffLen = 1524;

  if (HAL_ETH_Init(&heth) != HAL_OK)
  {
    Error_Handler();
  }

  memset(&TxConfig, 0 , sizeof(ETH_TxPacketConfig));
  TxConfig.Attributes = ETH_TX_PACKETS_FEATURES_CSUM | ETH_TX_PACKETS_FEATURES_CRCPAD;
  TxConfig.ChecksumCtrl = ETH_CHECKSUM_IPHDR_PAYLOAD_INSERT_PHDR_CALC;
  TxConfig.CRCPadCtrl = ETH_CRC_PAD_INSERT;

}

/**
  * @brief  Initialisation du Timer 2 (horloge ADC).
  *
  * CubeMX configure ARR = 2159 (50 kHz).
  * On reconfigure à ARR = 1079 (100 kHz) dans USER CODE BEGIN 2.
  *
  * @retval None
  */
static void MX_TIM2_Init(void)
{

  TIM_ClockConfigTypeDef sClockSourceConfig = {0};
  TIM_MasterConfigTypeDef sMasterConfig = {0};

  htim2.Instance = TIM2;
  htim2.Init.Prescaler = 0;
  htim2.Init.CounterMode = TIM_COUNTERMODE_UP;
  htim2.Init.Period = 2159;
  htim2.Init.ClockDivision = TIM_CLOCKDIVISION_DIV1;
  htim2.Init.AutoReloadPreload = TIM_AUTORELOAD_PRELOAD_ENABLE;
  if (HAL_TIM_Base_Init(&htim2) != HAL_OK)
  {
    Error_Handler();
  }
  sClockSourceConfig.ClockSource = TIM_CLOCKSOURCE_INTERNAL;
  if (HAL_TIM_ConfigClockSource(&htim2, &sClockSourceConfig) != HAL_OK)
  {
    Error_Handler();
  }
  sMasterConfig.MasterOutputTrigger = TIM_TRGO_UPDATE;
  sMasterConfig.MasterSlaveMode = TIM_MASTERSLAVEMODE_DISABLE;
  if (HAL_TIMEx_MasterConfigSynchronization(&htim2, &sMasterConfig) != HAL_OK)
  {
    Error_Handler();
  }

}

/**
  * @brief  Initialisation du Timer 4 (horloge DAC).
  * @retval None
  */
static void MX_TIM4_Init(void)
{

  TIM_ClockConfigTypeDef sClockSourceConfig = {0};
  TIM_MasterConfigTypeDef sMasterConfig = {0};

  htim4.Instance = TIM4;
  htim4.Init.Prescaler = 0;
  htim4.Init.CounterMode = TIM_COUNTERMODE_UP;
  htim4.Init.Period = 65535;
  htim4.Init.ClockDivision = TIM_CLOCKDIVISION_DIV1;
  htim4.Init.AutoReloadPreload = TIM_AUTORELOAD_PRELOAD_ENABLE;
  if (HAL_TIM_Base_Init(&htim4) != HAL_OK)
  {
    Error_Handler();
  }
  sClockSourceConfig.ClockSource = TIM_CLOCKSOURCE_INTERNAL;
  if (HAL_TIM_ConfigClockSource(&htim4, &sClockSourceConfig) != HAL_OK)
  {
    Error_Handler();
  }
  sMasterConfig.MasterOutputTrigger = TIM_TRGO_UPDATE;
  sMasterConfig.MasterSlaveMode = TIM_MASTERSLAVEMODE_DISABLE;
  if (HAL_TIMEx_MasterConfigSynchronization(&htim4, &sMasterConfig) != HAL_OK)
  {
    Error_Handler();
  }

}

/**
  * @brief  Initialisation de l'UART3 (115200 bauds par défaut, reconfiguré à 921600).
  * @retval None
  */
static void MX_USART3_UART_Init(void)
{

  huart3.Instance = USART3;
  huart3.Init.BaudRate = 115200;
  huart3.Init.WordLength = UART_WORDLENGTH_8B;
  huart3.Init.StopBits = UART_STOPBITS_1;
  huart3.Init.Parity = UART_PARITY_NONE;
  huart3.Init.Mode = UART_MODE_TX_RX;
  huart3.Init.HwFlowCtl = UART_HWCONTROL_NONE;
  huart3.Init.OverSampling = UART_OVERSAMPLING_16;
  huart3.Init.OneBitSampling = UART_ONE_BIT_SAMPLE_DISABLE;
  huart3.AdvancedInit.AdvFeatureInit = UART_ADVFEATURE_NO_INIT;
  if (HAL_UART_Init(&huart3) != HAL_OK)
  {
    Error_Handler();
  }

}

/**
  * @brief  Initialisation USB OTG FS (non utilisé).
  * @retval None
  */
static void MX_USB_OTG_FS_PCD_Init(void)
{

  hpcd_USB_OTG_FS.Instance = USB_OTG_FS;
  hpcd_USB_OTG_FS.Init.dev_endpoints = 6;
  hpcd_USB_OTG_FS.Init.speed = PCD_SPEED_FULL;
  hpcd_USB_OTG_FS.Init.dma_enable = DISABLE;
  hpcd_USB_OTG_FS.Init.phy_itface = PCD_PHY_EMBEDDED;
  hpcd_USB_OTG_FS.Init.Sof_enable = ENABLE;
  hpcd_USB_OTG_FS.Init.low_power_enable = DISABLE;
  hpcd_USB_OTG_FS.Init.lpm_enable = DISABLE;
  hpcd_USB_OTG_FS.Init.vbus_sensing_enable = ENABLE;
  hpcd_USB_OTG_FS.Init.use_dedicated_ep1 = DISABLE;
  if (HAL_PCD_Init(&hpcd_USB_OTG_FS) != HAL_OK)
  {
    Error_Handler();
  }

}

/**
  * @brief  Activation horloges DMA.
  * @retval None
  */
static void MX_DMA_Init(void)
{

  /* DMA controller clock enable */
  __HAL_RCC_DMA2_CLK_ENABLE();

  /* DMA interrupt init */
  HAL_NVIC_SetPriority(DMA2_Stream0_IRQn, 0, 0);
  HAL_NVIC_EnableIRQ(DMA2_Stream0_IRQn);

}

/**
  * @brief  Initialisation GPIO (LEDs, bouton, USB).
  * @retval None
  */
static void MX_GPIO_Init(void)
{
  GPIO_InitTypeDef GPIO_InitStruct = {0};

  /* GPIO Ports Clock Enable */
  __HAL_RCC_GPIOC_CLK_ENABLE();
  __HAL_RCC_GPIOH_CLK_ENABLE();
  __HAL_RCC_GPIOA_CLK_ENABLE();
  __HAL_RCC_GPIOB_CLK_ENABLE();
  __HAL_RCC_GPIOD_CLK_ENABLE();
  __HAL_RCC_GPIOG_CLK_ENABLE();

  /*Configure GPIO pin Output Level */
  HAL_GPIO_WritePin(GPIOB, LD1_Pin|LD3_Pin|LD2_Pin, GPIO_PIN_RESET);

  /*Configure GPIO pin Output Level */
  HAL_GPIO_WritePin(USB_PowerSwitchOn_GPIO_Port, USB_PowerSwitchOn_Pin, GPIO_PIN_RESET);

  /*Configure GPIO pin : USER_Btn_Pin */
  GPIO_InitStruct.Pin = USER_Btn_Pin;
  GPIO_InitStruct.Mode = GPIO_MODE_IT_RISING;
  GPIO_InitStruct.Pull = GPIO_NOPULL;
  HAL_GPIO_Init(USER_Btn_GPIO_Port, &GPIO_InitStruct);

  /*Configure GPIO pins : LD1_Pin LD3_Pin LD2_Pin */
  GPIO_InitStruct.Pin = LD1_Pin|LD3_Pin|LD2_Pin;
  GPIO_InitStruct.Mode = GPIO_MODE_OUTPUT_PP;
  GPIO_InitStruct.Pull = GPIO_NOPULL;
  GPIO_InitStruct.Speed = GPIO_SPEED_FREQ_LOW;
  HAL_GPIO_Init(GPIOB, &GPIO_InitStruct);

  /*Configure GPIO pin : USB_PowerSwitchOn_Pin */
  GPIO_InitStruct.Pin = USB_PowerSwitchOn_Pin;
  GPIO_InitStruct.Mode = GPIO_MODE_OUTPUT_PP;
  GPIO_InitStruct.Pull = GPIO_NOPULL;
  GPIO_InitStruct.Speed = GPIO_SPEED_FREQ_LOW;
  HAL_GPIO_Init(USB_PowerSwitchOn_GPIO_Port, &GPIO_InitStruct);

  /*Configure GPIO pin : USB_OverCurrent_Pin */
  GPIO_InitStruct.Pin = USB_OverCurrent_Pin;
  GPIO_InitStruct.Mode = GPIO_MODE_INPUT;
  GPIO_InitStruct.Pull = GPIO_NOPULL;
  HAL_GPIO_Init(USB_OverCurrent_GPIO_Port, &GPIO_InitStruct);

}

/* USER CODE BEGIN 4 */

/**
 * @brief  Callback DMA "Half Complete" pour l'ADC1.
 *
 * Appelée quand les 1024 premiers échantillons de adc_buf[] sont prêts.
 * Le DMA continue à remplir la seconde moitié pendant le traitement.
 *
 * @param hadc  Pointeur vers le handle ADC
 */
void HAL_ADC_ConvHalfCpltCallback(ADC_HandleTypeDef *hadc)
{
  if (hadc->Instance == ADC1) adc_half_ready = 1;
}

/**
 * @brief  Callback DMA "Transfer Complete" pour l'ADC1.
 *
 * Appelée quand les 1024 derniers échantillons sont prêts.
 *
 * @param hadc  Pointeur vers le handle ADC
 */
void HAL_ADC_ConvCpltCallback(ADC_HandleTypeDef *hadc)
{
  if (hadc->Instance == ADC1) adc_full_ready = 1;
}

/* USER CODE END 4 */

/**
  * @brief  Gestionnaire d'erreur global.
  * @retval None
  */
void Error_Handler(void)
{
  __disable_irq();
  while (1)
  {
  }
}
